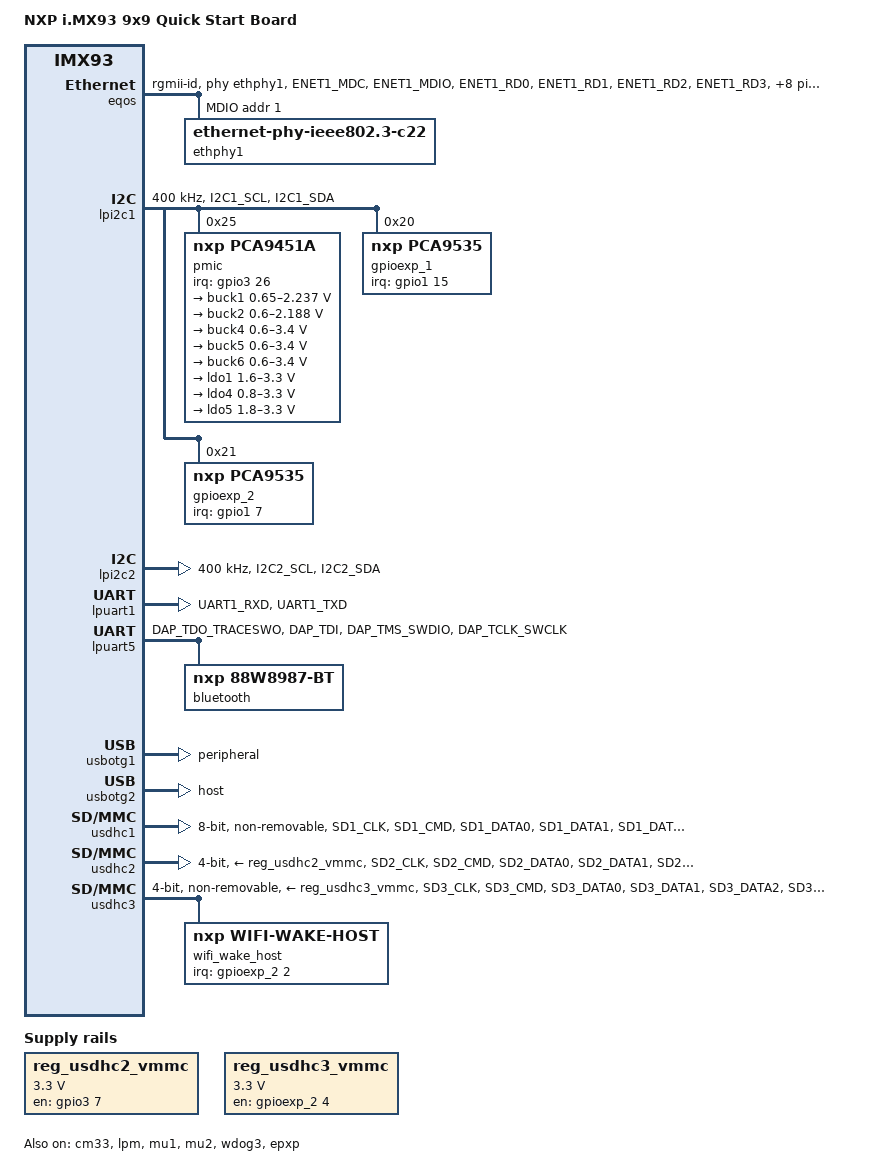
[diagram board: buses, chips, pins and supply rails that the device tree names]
// SPDX-License-Identifier: (GPL-2.0+ OR MIT)
/*
 * Copyright 2022 NXP
 */

/dts-v1/;

#include <dt-bindings/usb/pd.h>
#include "imx93.dtsi"

&ele_fw2 {
	memory-region = <&ele_reserved>;
};

/ {
	model = "NXP i.MX93 9x9 Quick Start Board";
	compatible = "fsl,imx93-9x9-qsb", "fsl,imx93";

	chosen {
		stdout-path = &lpuart1;
	};

	reserved-memory {
		#address-cells = <2>;
		#size-cells = <2>;
		ranges;

		linux,cma {
			compatible = "shared-dma-pool";
			reusable;
			size = <0 0x10000000>;
			linux,cma-default;
		};

		ethosu_mem: ethosu_region@C0000000 {
			compatible = "shared-dma-pool";
			reusable;
			reg = <0x0 0xC0000000 0x0 0x10000000>;
		};

		vdev0vring0: vdev0vring0@a4000000 {
			reg = <0 0xa4000000 0 0x8000>;
			no-map;
		};

		vdev0vring1: vdev0vring1@a4008000 {
			reg = <0 0xa4008000 0 0x8000>;
			no-map;
		};

		vdev1vring0: vdev1vring0@a4010000 {
			reg = <0 0xa4010000 0 0x8000>;
			no-map;
		};

		vdev1vring1: vdev1vring1@a4018000 {
			reg = <0 0xa4018000 0 0x8000>;
			no-map;
		};

		rsc_table: rsc-table@2021e000 {
			reg = <0 0x2021e000 0 0x1000>;
			no-map;
		};

		vdevbuffer: vdevbuffer@a4020000 {
			compatible = "shared-dma-pool";
			reg = <0 0xa4020000 0 0x100000>;
			no-map;
		};

		ele_reserved: ele-reserved@a4120000 {
			compatible = "shared-dma-pool";
			reg = <0 0xa4120000 0 0x100000>;
			no-map;
		};
	};

	ethosu {
		compatible = "arm,ethosu";
		fsl,cm33-proc = <&cm33>;
		memory-region = <&ethosu_mem>;
		power-domains = <&mlmix>;
	};

	reg_usdhc2_vmmc: regulator-usdhc2 {
		compatible = "regulator-fixed";
		pinctrl-names = "default";
		pinctrl-0 = <&pinctrl_reg_usdhc2_vmmc>;
		regulator-name = "VSD_3V3";
		regulator-min-microvolt = <3300000>;
		regulator-max-microvolt = <3300000>;
		gpio = <&gpio3 7 GPIO_ACTIVE_HIGH>;
		off-on-delay-us = <12000>;
		enable-active-high;
	};

	reg_usdhc3_vmmc: regulator-usdhc3 {
		compatible = "regulator-fixed";
		regulator-name = "WLAN_EN";
		regulator-min-microvolt = <3300000>;
		regulator-max-microvolt = <3300000>;
		gpio = <&gpioexp_2 4 GPIO_ACTIVE_HIGH>;
		/*
		 * IW612 wifi chip needs more delay than other wifi chips to complete
		 * the host interface initialization after power up, otherwise the
		 * internal state of IW612 may be unstable, resulting in the failure of
		 * the SDIO3.0 switch voltage.
		 */
		startup-delay-us = <20000>;
		enable-active-high;
	};
};

&cm33 {
	mbox-names = "tx", "rx", "rxdb";
	mboxes = <&mu1 0 1>,
		 <&mu1 1 1>,
		 <&mu1 3 1>;
	memory-region = <&vdevbuffer>, <&vdev0vring0>, <&vdev0vring1>,
			<&vdev1vring0>, <&vdev1vring1>, <&rsc_table>;
	fsl,startup-delay-ms = <500>;
	status = "okay";
};

&eqos {
	pinctrl-names = "default";
	pinctrl-0 = <&pinctrl_eqos>;
	phy-mode = "rgmii-id";
	phy-handle = <&ethphy1>;
	status = "okay";

	mdio {
		compatible = "snps,dwmac-mdio";
		#address-cells = <1>;
		#size-cells = <0>;
		clock-frequency = <5000000>;

		ethphy1: ethernet-phy@1 {
			compatible = "ethernet-phy-ieee802.3-c22";
			reg = <1>;
			eee-broken-1000t;
		};
	};
};

&lpm {
	soc-supply = <&buck1>;
	status = "okay";
};

&lpi2c1 {
	#address-cells = <1>;
	#size-cells = <0>;
	clock-frequency = <400000>;
	pinctrl-names = "default", "sleep";
	pinctrl-0 = <&pinctrl_lpi2c1>;
	pinctrl-1 = <&pinctrl_lpi2c1>;
	status = "okay";

	pmic@25 {
		compatible = "nxp,pca9451a";
		reg = <0x25>;
		pinctrl-0 = <&pinctrl_pca9451a>;
		interrupt-parent = <&gpio3>;
		interrupts = <26 IRQ_TYPE_LEVEL_LOW>;

		regulators {
			buck1: BUCK1 {
				regulator-name = "BUCK1";
				regulator-min-microvolt = <650000>;
				regulator-max-microvolt = <2237500>;
				regulator-boot-on;
				regulator-always-on;
				regulator-ramp-delay = <3125>;
			};

			buck2: BUCK2 {
				regulator-name = "BUCK2";
				regulator-min-microvolt = <600000>;
				regulator-max-microvolt = <2187500>;
				regulator-boot-on;
				regulator-always-on;
				regulator-ramp-delay = <3125>;
			};

			buck4: BUCK4{
				regulator-name = "BUCK4";
				regulator-min-microvolt = <600000>;
				regulator-max-microvolt = <3400000>;
				regulator-boot-on;
				regulator-always-on;
			};

			buck5: BUCK5{
				regulator-name = "BUCK5";
				regulator-min-microvolt = <600000>;
				regulator-max-microvolt = <3400000>;
				regulator-boot-on;
				regulator-always-on;
			};

			buck6: BUCK6 {
				regulator-name = "BUCK6";
				regulator-min-microvolt = <600000>;
				regulator-max-microvolt = <3400000>;
				regulator-boot-on;
				regulator-always-on;
			};

			ldo1: LDO1 {
				regulator-name = "LDO1";
				regulator-min-microvolt = <1600000>;
				regulator-max-microvolt = <3300000>;
				regulator-boot-on;
				regulator-always-on;
			};

			ldo4: LDO4 {
				regulator-name = "LDO4";
				regulator-min-microvolt = <800000>;
				regulator-max-microvolt = <3300000>;
				regulator-boot-on;
				regulator-always-on;
			};

			ldo5: LDO5 {
				regulator-name = "LDO5";
				regulator-min-microvolt = <1800000>;
				regulator-max-microvolt = <3300000>;
				regulator-boot-on;
				regulator-always-on;
			};
		};
	};

	/* KTS1622EUAA-TR U19 */
	gpioexp_1: gpio@20 {
		compatible = "nxp,pca9535";
		pinctrl-names = "default";
		pinctrl-0 = <&pinctrl_gpioexp_1>;
		reg = <0x20>;
		gpio-controller;
		#gpio-cells = <2>;
		interrupt-controller;
		#interrupt-cells = <2>;
		interrupt-parent = <&gpio1>;
		interrupts = <15 IRQ_TYPE_LEVEL_LOW>;
	};

	/* KTS1622EUAA-TR U20 */
	gpioexp_2: gpio@21 {
		compatible = "nxp,pca9535";
		pinctrl-names = "default";
		pinctrl-0 = <&pinctrl_gpioexp_2>;
		reg = <0x21>;
		gpio-controller;
		#gpio-cells = <2>;
		interrupt-controller;
		#interrupt-cells = <2>;
		interrupt-parent = <&gpio1>;
		interrupts = <7 IRQ_TYPE_LEVEL_LOW>;
	};
};

&lpi2c2 {
	#address-cells = <1>;
	#size-cells = <0>;
	clock-frequency = <400000>;
	pinctrl-names = "default", "sleep";
	pinctrl-0 = <&pinctrl_lpi2c2>;
	pinctrl-1 = <&pinctrl_lpi2c2>;
	status = "okay";
};

/*
@TODO: move console to LPUART6
SPI0 CIPO: LPUART1 RX
SPI0 CS: LPUART1 TX
*/
&lpuart1 { /* console */
	pinctrl-names = "default";
	pinctrl-0 = <&pinctrl_uart1>;
	status = "okay";
};

&lpuart5 {
	/* Bluetooth */
	pinctrl-names = "default";
	pinctrl-0 = <&pinctrl_uart5>;
	/* @TODO: missing pinctrl-assert-gpios */
	status = "okay";

	bluetooth {
		compatible = "nxp,88w8987-bt";
	};
};

&mu1 {
	status = "okay";
};

&mu2 {
	status = "okay";
};

&usbotg1 { /* Type-C USB Port USB_HS */
	dr_mode = "peripheral";
	hnp-disable;
	srp-disable;
	adp-disable;
	disable-over-current;
	samsung,picophy-pre-emp-curr-control = <3>;
	samsung,picophy-dc-vol-level-adjust = <7>;
	status = "okay";
};

&usbotg2 { /* USB_FS */
	dr_mode = "host";
	hnp-disable;
	srp-disable;
	adp-disable;
	disable-over-current;
	samsung,picophy-pre-emp-curr-control = <3>;
	samsung,picophy-dc-vol-level-adjust = <7>;
	status = "okay";
};

&usdhc1 {
	pinctrl-names = "default", "state_100mhz", "state_200mhz";
	pinctrl-0 = <&pinctrl_usdhc1>;
	pinctrl-1 = <&pinctrl_usdhc1_100mhz>;
	pinctrl-2 = <&pinctrl_usdhc1_200mhz>;
	bus-width = <8>;
	non-removable;
	status = "okay";
};

&usdhc2 {
	pinctrl-names = "default", "state_100mhz", "state_200mhz";
	pinctrl-0 = <&pinctrl_usdhc2>, <&pinctrl_usdhc2_gpio>;
	pinctrl-1 = <&pinctrl_usdhc2_100mhz>, <&pinctrl_usdhc2_gpio>;
	pinctrl-2 = <&pinctrl_usdhc2_200mhz>, <&pinctrl_usdhc2_gpio>;
	cd-gpios = <&gpio3 0 GPIO_ACTIVE_LOW>;
	fsl,cd-gpio-wakeup-disable;
	vmmc-supply = <&reg_usdhc2_vmmc>;
	bus-width = <4>;
	status = "okay";
	no-sdio;
	no-mmc;
};

&usdhc3 {
	pinctrl-names = "default", "state_100mhz", "state_200mhz";
	pinctrl-0 = <&pinctrl_usdhc3>;
	pinctrl-1 = <&pinctrl_usdhc3_100mhz>;
	pinctrl-2 = <&pinctrl_usdhc3_200mhz>;
	mmc-pwrseq = <&usdhc3_pwrseq>;
	vmmc-supply = <&reg_usdhc3_vmmc>;
	/* @TODO: missing pinctrl-assert-gpios */
	bus-width = <4>;
	keep-power-in-suspend;
	non-removable;
	wakeup-source;
	fsl,sdio-async-interrupt-enabled;
	status = "okay";

	wifi_wake_host {
		compatible = "nxp,wifi-wake-host";
		interrupt-parent = <&gpioexp_2>;
		/* gpioexp_2 IO expander limitation: only support edge-triggered irq */
		interrupts = <2 IRQ_TYPE_EDGE_FALLING>;
		interrupt-names = "host-wake";
	};
};

&wdog3 {
	status = "okay";
};

&iomuxc {
	pinctrl_eqos: eqosgrp {
		fsl,pins = <
			MX93_PAD_ENET1_MDC__ENET_QOS_MDC			0x57e
			MX93_PAD_ENET1_MDIO__ENET_QOS_MDIO			0x57e
			MX93_PAD_ENET1_RD0__ENET_QOS_RGMII_RD0			0x57e
			MX93_PAD_ENET1_RD1__ENET_QOS_RGMII_RD1			0x57e
			MX93_PAD_ENET1_RD2__ENET_QOS_RGMII_RD2			0x57e
			MX93_PAD_ENET1_RD3__ENET_QOS_RGMII_RD3			0x57e
			MX93_PAD_ENET1_RXC__CCM_ENET_QOS_CLOCK_GENERATE_RX_CLK	0x5fe
			MX93_PAD_ENET1_RX_CTL__ENET_QOS_RGMII_RX_CTL		0x57e
			MX93_PAD_ENET1_TD0__ENET_QOS_RGMII_TD0			0x57e
			MX93_PAD_ENET1_TD1__ENET_QOS_RGMII_TD1			0x57e
			MX93_PAD_ENET1_TD2__ENET_QOS_RGMII_TD2			0x57e
			MX93_PAD_ENET1_TD3__ENET_QOS_RGMII_TD3			0x57e
			MX93_PAD_ENET1_TXC__CCM_ENET_QOS_CLOCK_GENERATE_TX_CLK	0x5fe
			MX93_PAD_ENET1_TX_CTL__ENET_QOS_RGMII_TX_CTL		0x57e
		>;
	};

	pinctrl_lcdif: lcdifgrp {
		fsl,pins = <
			MX93_PAD_GPIO_IO00__MEDIAMIX_DISP_CLK		0x31e
			MX93_PAD_GPIO_IO01__MEDIAMIX_DISP_DE		0x31e
			MX93_PAD_GPIO_IO02__MEDIAMIX_DISP_VSYNC		0x31e
			MX93_PAD_GPIO_IO03__MEDIAMIX_DISP_HSYNC		0x31e
			MX93_PAD_GPIO_IO04__MEDIAMIX_DISP_DATA00	0x31e
			MX93_PAD_GPIO_IO05__MEDIAMIX_DISP_DATA01	0x31e
			MX93_PAD_GPIO_IO06__MEDIAMIX_DISP_DATA02	0x31e
			MX93_PAD_GPIO_IO07__MEDIAMIX_DISP_DATA03	0x31e
			MX93_PAD_GPIO_IO08__MEDIAMIX_DISP_DATA04	0x31e
			MX93_PAD_GPIO_IO09__MEDIAMIX_DISP_DATA05	0x31e
			MX93_PAD_GPIO_IO10__MEDIAMIX_DISP_DATA06	0x31e
			MX93_PAD_GPIO_IO11__MEDIAMIX_DISP_DATA07	0x31e
			MX93_PAD_GPIO_IO12__MEDIAMIX_DISP_DATA08	0x31e
			MX93_PAD_GPIO_IO13__MEDIAMIX_DISP_DATA09	0x31e
			MX93_PAD_GPIO_IO14__MEDIAMIX_DISP_DATA10	0x31e
			MX93_PAD_GPIO_IO15__MEDIAMIX_DISP_DATA11	0x31e
			MX93_PAD_GPIO_IO16__MEDIAMIX_DISP_DATA12	0x31e
			MX93_PAD_GPIO_IO17__MEDIAMIX_DISP_DATA13	0x31e
			MX93_PAD_GPIO_IO18__MEDIAMIX_DISP_DATA14	0x31e
			MX93_PAD_GPIO_IO19__MEDIAMIX_DISP_DATA15	0x31e
			MX93_PAD_GPIO_IO20__MEDIAMIX_DISP_DATA16	0x31e
			MX93_PAD_GPIO_IO21__MEDIAMIX_DISP_DATA17	0x31e
		>;
	};

	pinctrl_lpi2c1: lpi2c1grp {
		fsl,pins = <
			MX93_PAD_I2C1_SCL__LPI2C1_SCL			0x40000b9e
			MX93_PAD_I2C1_SDA__LPI2C1_SDA			0x40000b9e
		>;
	};

	pinctrl_lpi2c2: lpi2c2grp {
		fsl,pins = <
			MX93_PAD_I2C2_SCL__LPI2C2_SCL			0x40000b9e
			MX93_PAD_I2C2_SDA__LPI2C2_SDA			0x40000b9e
		>;
	};

	pinctrl_pca9451a: pca9451agrp {
		fsl,pins = <
			MX93_PAD_CCM_CLKO1__GPIO3_IO26			0x1380
		>;
	};

	pinctrl_uart1: uart1grp {
		fsl,pins = <
			MX93_PAD_UART1_RXD__LPUART1_RX			0x31e
			MX93_PAD_UART1_TXD__LPUART1_TX			0x31e
		>;
	};

	pinctrl_uart5: uart5grp {
		fsl,pins = <
			MX93_PAD_DAP_TDO_TRACESWO__LPUART5_TX	0x31e
			MX93_PAD_DAP_TDI__LPUART5_RX		0x31e
			MX93_PAD_DAP_TMS_SWDIO__LPUART5_RTS_B	0x31e
			MX93_PAD_DAP_TCLK_SWCLK__LPUART5_CTS_B	0x31e
		>;
	};

	/* need to config the SION for data and cmd pad, refer to ERR052021 */
	pinctrl_usdhc1: usdhc1grp {
		fsl,pins = <
			MX93_PAD_SD1_CLK__USDHC1_CLK		0x1582
			MX93_PAD_SD1_CMD__USDHC1_CMD		0x40001382
			MX93_PAD_SD1_DATA0__USDHC1_DATA0	0x40001382
			MX93_PAD_SD1_DATA1__USDHC1_DATA1	0x40001382
			MX93_PAD_SD1_DATA2__USDHC1_DATA2	0x40001382
			MX93_PAD_SD1_DATA3__USDHC1_DATA3	0x40001382
			MX93_PAD_SD1_DATA4__USDHC1_DATA4	0x40001382
			MX93_PAD_SD1_DATA5__USDHC1_DATA5	0x40001382
			MX93_PAD_SD1_DATA6__USDHC1_DATA6	0x40001382
			MX93_PAD_SD1_DATA7__USDHC1_DATA7	0x40001382
			MX93_PAD_SD1_STROBE__USDHC1_STROBE	0x1582
		>;
	};

	/* need to config the SION for data and cmd pad, refer to ERR052021 */
	pinctrl_usdhc1_100mhz: usdhc1-100mhzgrp {
		fsl,pins = <
			MX93_PAD_SD1_CLK__USDHC1_CLK		0x158e
			MX93_PAD_SD1_CMD__USDHC1_CMD		0x4000138e
			MX93_PAD_SD1_DATA0__USDHC1_DATA0	0x4000138e
			MX93_PAD_SD1_DATA1__USDHC1_DATA1	0x4000138e
			MX93_PAD_SD1_DATA2__USDHC1_DATA2	0x4000138e
			MX93_PAD_SD1_DATA3__USDHC1_DATA3	0x4000138e
			MX93_PAD_SD1_DATA4__USDHC1_DATA4	0x4000138e
			MX93_PAD_SD1_DATA5__USDHC1_DATA5	0x4000138e
			MX93_PAD_SD1_DATA6__USDHC1_DATA6	0x4000138e
			MX93_PAD_SD1_DATA7__USDHC1_DATA7	0x4000138e
			MX93_PAD_SD1_STROBE__USDHC1_STROBE	0x158e
		>;
	};

	/* need to config the SION for data and cmd pad, refer to ERR052021 */
	pinctrl_usdhc1_200mhz: usdhc1-200mhzgrp {
		fsl,pins = <
			MX93_PAD_SD1_CLK__USDHC1_CLK		0x15fe
			MX93_PAD_SD1_CMD__USDHC1_CMD		0x400013fe
			MX93_PAD_SD1_DATA0__USDHC1_DATA0	0x400013fe
			MX93_PAD_SD1_DATA1__USDHC1_DATA1	0x400013fe
			MX93_PAD_SD1_DATA2__USDHC1_DATA2	0x400013fe
			MX93_PAD_SD1_DATA3__USDHC1_DATA3	0x400013fe
			MX93_PAD_SD1_DATA4__USDHC1_DATA4	0x400013fe
			MX93_PAD_SD1_DATA5__USDHC1_DATA5	0x400013fe
			MX93_PAD_SD1_DATA6__USDHC1_DATA6	0x400013fe
			MX93_PAD_SD1_DATA7__USDHC1_DATA7	0x400013fe
			MX93_PAD_SD1_STROBE__USDHC1_STROBE	0x15fe
		>;
	};

	pinctrl_reg_usdhc2_vmmc: regusdhc2vmmcgrp {
		fsl,pins = <
			MX93_PAD_SD2_RESET_B__GPIO3_IO07	0x31e
		>;
	};

	pinctrl_usdhc2_gpio: usdhc2gpiogrp {
		fsl,pins = <
			MX93_PAD_SD2_CD_B__GPIO3_IO00		0x31e
		>;
	};

	/* need to config the SION for data and cmd pad, refer to ERR052021 */
	pinctrl_usdhc2: usdhc2grp {
		fsl,pins = <
			MX93_PAD_SD2_CLK__USDHC2_CLK		0x1582
			MX93_PAD_SD2_CMD__USDHC2_CMD		0x40001382
			MX93_PAD_SD2_DATA0__USDHC2_DATA0	0x40001382
			MX93_PAD_SD2_DATA1__USDHC2_DATA1	0x40001382
			MX93_PAD_SD2_DATA2__USDHC2_DATA2	0x40001382
			MX93_PAD_SD2_DATA3__USDHC2_DATA3	0x40001382
			MX93_PAD_SD2_VSELECT__USDHC2_VSELECT	0x51e
		>;
	};

	/* need to config the SION for data and cmd pad, refer to ERR052021 */
	pinctrl_usdhc2_100mhz: usdhc2-100mhzgrp {
		fsl,pins = <
			MX93_PAD_SD2_CLK__USDHC2_CLK		0x158e
			MX93_PAD_SD2_CMD__USDHC2_CMD		0x4000138e
			MX93_PAD_SD2_DATA0__USDHC2_DATA0	0x4000138e
			MX93_PAD_SD2_DATA1__USDHC2_DATA1	0x4000138e
			MX93_PAD_SD2_DATA2__USDHC2_DATA2	0x4000138e
			MX93_PAD_SD2_DATA3__USDHC2_DATA3	0x4000138e
			MX93_PAD_SD2_VSELECT__USDHC2_VSELECT	0x51e
		>;
	};

	/* need to config the SION for data and cmd pad, refer to ERR052021 */
	pinctrl_usdhc2_200mhz: usdhc2-200mhzgrp {
		fsl,pins = <
			MX93_PAD_SD2_CLK__USDHC2_CLK		0x15fe
			MX93_PAD_SD2_CMD__USDHC2_CMD		0x400013fe
			MX93_PAD_SD2_DATA0__USDHC2_DATA0	0x400013fe
			MX93_PAD_SD2_DATA1__USDHC2_DATA1	0x400013fe
			MX93_PAD_SD2_DATA2__USDHC2_DATA2	0x400013fe
			MX93_PAD_SD2_DATA3__USDHC2_DATA3	0x400013fe
			MX93_PAD_SD2_VSELECT__USDHC2_VSELECT	0x51e
		>;
	};

	/* need to config the SION for data and cmd pad, refer to ERR052021 */
	pinctrl_usdhc3: usdhc3grp {
		fsl,pins = <
			MX93_PAD_SD3_CLK__USDHC3_CLK		0x1582
			MX93_PAD_SD3_CMD__USDHC3_CMD		0x40001382
			MX93_PAD_SD3_DATA0__USDHC3_DATA0	0x40001382
			MX93_PAD_SD3_DATA1__USDHC3_DATA1	0x40001382
			MX93_PAD_SD3_DATA2__USDHC3_DATA2	0x40001382
			MX93_PAD_SD3_DATA3__USDHC3_DATA3	0x40001382
		>;
	};

	/* need to config the SION for data and cmd pad, refer to ERR052021 */
	pinctrl_usdhc3_100mhz: usdhc3-100mhzgrp {
		fsl,pins = <
			MX93_PAD_SD3_CLK__USDHC3_CLK		0x158e
			MX93_PAD_SD3_CMD__USDHC3_CMD		0x4000138e
			MX93_PAD_SD3_DATA0__USDHC3_DATA0	0x4000138e
			MX93_PAD_SD3_DATA1__USDHC3_DATA1	0x4000138e
			MX93_PAD_SD3_DATA2__USDHC3_DATA2	0x4000138e
			MX93_PAD_SD3_DATA3__USDHC3_DATA3	0x4000138e
		>;
	};

	/* need to config the SION for data and cmd pad, refer to ERR052021 */
	pinctrl_usdhc3_200mhz: usdhc3-200mhzgrp {
		fsl,pins = <
			MX93_PAD_SD3_CLK__USDHC3_CLK		0x15fe
			MX93_PAD_SD3_CMD__USDHC3_CMD		0x400013fe
			MX93_PAD_SD3_DATA0__USDHC3_DATA0	0x400013fe
			MX93_PAD_SD3_DATA1__USDHC3_DATA1	0x400013fe
			MX93_PAD_SD3_DATA2__USDHC3_DATA2	0x400013fe
			MX93_PAD_SD3_DATA3__USDHC3_DATA3	0x400013fe
		>;
	};
};

&epxp {
	status = "okay";
};
